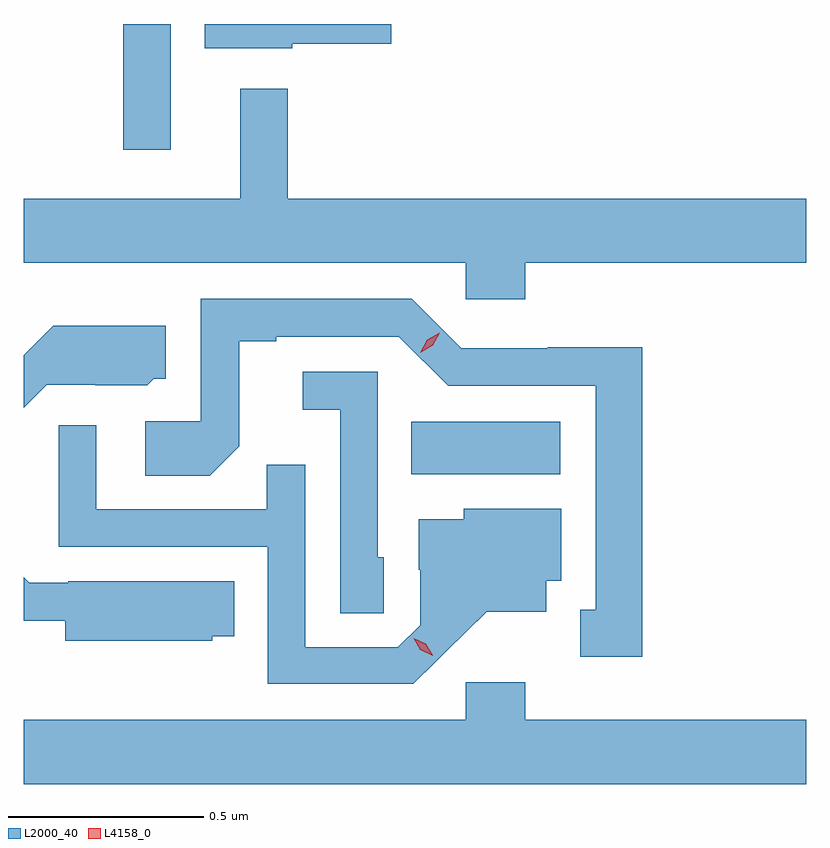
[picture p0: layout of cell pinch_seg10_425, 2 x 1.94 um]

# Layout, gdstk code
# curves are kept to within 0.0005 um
import gdstk
lib = gdstk.Library(unit=1e-6, precision=1e-09)
def R(c, l, rs):  # rectangles x0, y0, x1, y1
    for r in rs: c.add(gdstk.rectangle(r[:2], r[2:], *l))
def P(c, l, *ps):  # polygons
    for p in ps: c.add(gdstk.Polygon(p, *l))
L2000_40 = (2000, 40)
L4158_0 = (4158, 0)

pinch_seg10_425 = lib.new_cell('pinch_seg10_425')
R(pinch_seg10_425, L2000_40, [(576.04,1258.484,576.421,1258.618), (575.304,1259.313,575.425,1259.635)])
P(pinch_seg10_425, L2000_40, [(575.736,1259.584),(575.989,1259.584),(575.989,1259.635),(575.513,1259.635),(575.513,1259.573),(575.736,1259.573)],
  [(576.332,1259.024),(577.05,1259.024),(577.05,1259.188),(575.725,1259.188),(575.725,1259.47),(575.603,1259.47),(575.603,1259.188),(575.05,1259.188),(575.05,1259.024),(576.18,1259.024),(576.18,1258.931),(576.332,1258.931)],
  [(576.631,1258.808),(576.39,1258.808),(576.39,1258.806),(576.168,1258.806),(576.042,1258.932),(575.502,1258.932),(575.502,1258.62),(575.361,1258.62),(575.361,1258.48),(575.525,1258.48),(575.601,1258.556),(575.601,1258.824),(575.695,1258.824),(575.695,1258.836),(576.009,1258.836),(576.135,1258.71),(576.512,1258.71),(576.512,1258.137),(576.473,1258.137),(576.473,1258.017),(576.631,1258.017)],
  [(575.109,1258.713),(575.232,1258.713),(575.232,1258.712),(575.366,1258.712),(575.382,1258.728),(575.413,1258.728),(575.413,1258.864),(575.125,1258.864),(575.05,1258.788),(575.05,1258.654)],
  [(575.97,1258.272),(575.955,1258.272),(575.955,1258.746),(575.763,1258.746),(575.763,1258.649),(575.859,1258.649),(575.859,1258.129),(575.97,1258.129)],
  [(576.103,1258.005),(576.233,1258.133),(576.385,1258.133),(576.385,1258.212),(576.424,1258.212),(576.424,1258.396),(576.174,1258.396),(576.174,1258.369),(576.059,1258.369),(576.059,1258.24),(576.063,1258.24),(576.063,1258.098),(576.006,1258.041),(575.769,1258.041),(575.769,1258.508),(575.671,1258.508),(575.671,1258.395),(575.235,1258.395),(575.235,1258.609),(575.139,1258.609),(575.139,1258.299),(575.673,1258.299),(575.673,1257.948),(576.046,1257.948)],
  [(575.532,1258.07),(575.588,1258.07),(575.588,1258.21),(575.164,1258.21),(575.164,1258.206),(575.064,1258.206),(575.05,1258.22),(575.05,1258.109),(575.156,1258.109),(575.156,1258.058),(575.532,1258.058)],
  [(577.05,1257.856),(576.332,1257.856),(576.332,1257.952),(576.18,1257.952),(576.18,1257.856),(575.05,1257.856),(575.05,1257.692),(577.05,1257.692)])
P(pinch_seg10_425, L4158_0, [(576.063,1258.795),(576.063,1258.795),(576.081,1258.828),(576.113,1258.846),(576.113,1258.846),(576.113,1258.846),(576.096,1258.814),(576.064,1258.795)],
  [(576.095,1258.02),(576.064,1258.035),(576.047,1258.065),(576.047,1258.065),(576.047,1258.065),(576.078,1258.05),(576.095,1258.021),(576.095,1258.02)])

lib.write_gds('pinch_seg10_425.gds')
